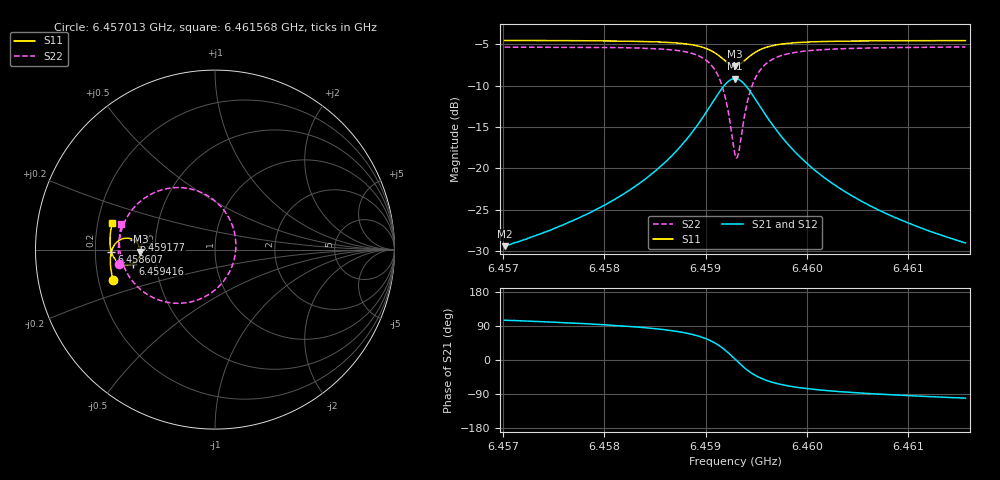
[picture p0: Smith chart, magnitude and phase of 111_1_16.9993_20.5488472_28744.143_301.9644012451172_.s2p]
#  HZ  S  RI  R  50.00
! Rohde & Schwarz Vector Network Analyzer
! Rohde-Schwarz,ZNB20-2Port,1311601062101988,3.16
! Created: UTC 3/20/2024, 10:57:02 PM
! freq[Hz]  re:S11  im:S11  re:S21  im:S21  re:S12  im:S12  re:S22  im:S22
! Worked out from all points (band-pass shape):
!   401 points, 6.457013 GHz to 6.461568 GHz, reference 50 ohm
!   highest |S21| = -9.15 dB at 6.45929 GHz (marker M1); lowest = -29.4 dB at 6.457013 GHz (marker M2)
!   |S21| within 3 dB of the highest: 6.459062 GHz to 6.459518 GHz (455.5 kHz wide, 0.00705 % of centre)
!   lowest |S11| = -7.6 dB at 6.45929 GHz (marker M3), VSWR 2.42, Z = 20.6 - j0.546 ohm
!   |S11| at or under -10 dB: nowhere
!   |S22| runs from -18.7 to -5.3 dB; largest |S21 - S12| = 0.014
!   S11 on the Smith chart (normalised r, x): 6.457013 GHz: 0.26, -0.14; 6.458607 GHz: 0.27, -0.01; 6.459177 GHz: 0.38, +0.05; 6.459416 GHz: 0.37, -0.07; 6.461568 GHz: 0.26, +0.12
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6.4570131e9  -0.5669 -0.1707  -0.00876 0.0327  -0.0071 0.0328  -0.5336 -0.0811
6.457776e9  -0.5807 -0.1039  -0.00564 0.0509  -0.00293 0.0503  -0.5383 0.00873
6.4581859e9  -0.5834 -0.0627  0.000302 0.0698  0.00361 0.0684  -0.5303 0.0738
6.4585389e9  -0.5794 -0.0203  0.0146 0.0996  0.0185 0.0968  -0.5038 0.1537
6.4586072e9  -0.5772 -0.0107  0.02 0.108  0.024 0.105  -0.4936 0.1737
6.4588008e9  -0.5645 0.0197  0.0468 0.1393  0.0509 0.1343  -0.4433 0.2431
6.4589488e9  -0.5417 0.0461  0.0926 0.1699  0.0958 0.1632  -0.3591 0.3074
6.4590854e9  -0.4972 0.0637  0.1806 0.1865  0.1815 0.1791  -0.1984 0.3456
6.4591765e9  -0.4521 0.0531  0.2713 0.1547  0.2716 0.1489  -0.0308 0.2938
6.4592448e9  -0.4226 0.0205  0.3322 0.0819  0.3344 0.0766  0.0848 0.1626
6.4592904e9  -0.4158 -0.0109  0.3484 0.0133  0.3523 0.00626  0.1163 0.0344
6.4593018e9  -0.4162 -0.0191  0.3482 -0.00473  0.3521 -0.0123  0.1156 0.000588
6.4593245e9  -0.4197 -0.0348  0.3424 -0.0396  0.3464 -0.0488  0.1041 -0.0657
6.4593701e9  -0.4356 -0.0614  0.3133 -0.0998  0.3155 -0.1119  0.0453 -0.1791
6.4594156e9  -0.4578 -0.0778  0.2709 -0.1411  0.2701 -0.1545  -0.0409 -0.2539
6.4595067e9  -0.5017 -0.0848  0.1853 -0.1722  0.1791 -0.1838  -0.2109 -0.2992
6.4596547e9  -0.546 -0.0644  0.0967 -0.1581  0.0883 -0.1642  -0.3791 -0.2488
6.4598141e9  -0.5678 -0.0368  0.0517 -0.1298  0.044 -0.1326  -0.4595 -0.176
6.4600533e9  -0.5808 -0.00123  0.0224 -0.098  0.0165 -0.0986  -0.5073 -0.0934
6.4604176e9  -0.5856 0.0422  0.00576 -0.0697  0.0017 -0.069  -0.5293 -0.0099
6.4608161e9  -0.5838 0.0822  -0.00144 -0.0523  -0.00423 -0.0514  -0.5329 0.0537
6.4615676e9  -0.5718 0.1489  -0.00648 -0.0349  -0.00825 -0.0339  -0.5216 0.143
